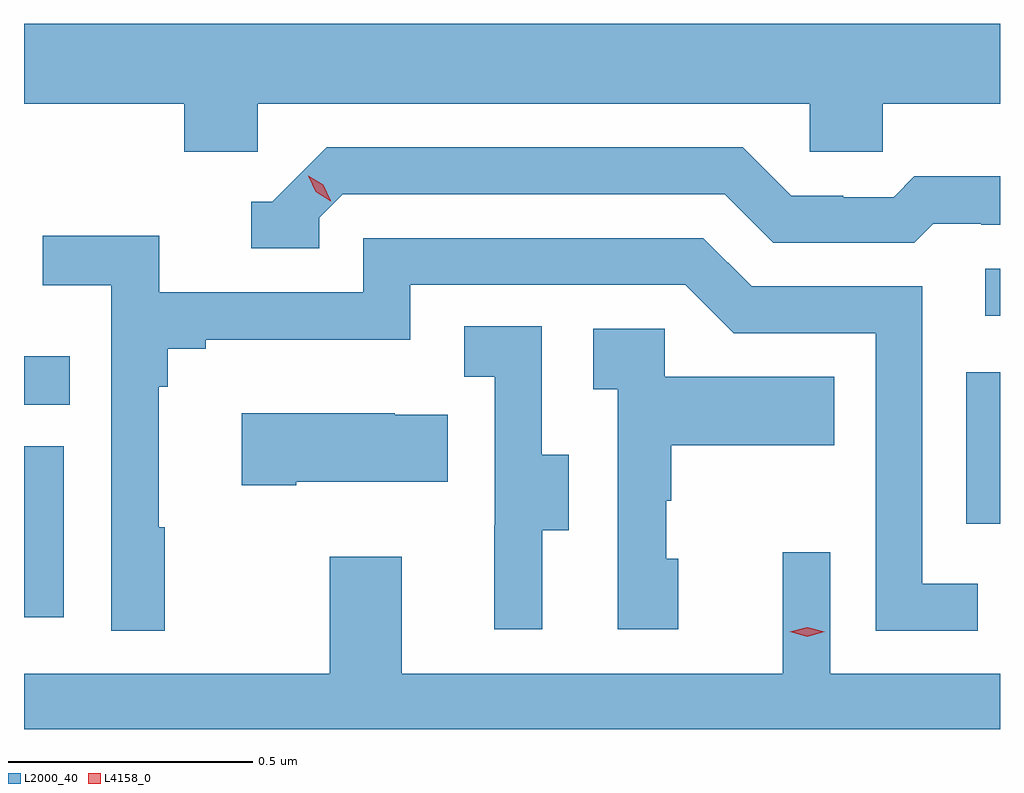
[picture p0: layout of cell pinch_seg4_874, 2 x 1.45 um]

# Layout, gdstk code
import gdstk
lib = gdstk.Library(unit=1e-6, precision=1e-09)
def R(c, l, rs):  # rectangles x0, y0, x1, y1
    for r in rs: c.add(gdstk.rectangle(r[:2], r[2:], *l))
def P(c, l, *ps):  # polygons
    for p in ps: c.add(gdstk.Polygon(p, *l))
L2000_40 = (2000, 40)
L4158_0 = (4158, 0)

pinch_seg4_874 = lib.new_cell('pinch_seg4_874')
R(pinch_seg4_874, L2000_40, [(841.189,801.096,841.27,801.447), (843.12,801.288,843.189,801.598), (841.189,801.532,841.283,801.631), (843.159,801.714,843.189,801.81)])
P(pinch_seg4_874, L2000_40, [(841.668,802.148),(842.799,802.148),(842.799,802.05),(842.949,802.05),(842.949,802.148),(843.189,802.148),(843.189,802.312),(841.189,802.312),(841.189,802.148),(841.517,802.148),(841.517,802.05),(841.668,802.05)],
  [(841.794,801.915),(841.842,801.963),(842.625,801.963),(842.724,801.864),(843.013,801.864),(843.052,801.903),(843.151,801.903),(843.151,801.9),(843.189,801.9),(843.189,802),(843.013,802),(842.971,801.957),(842.868,801.957),(842.868,801.96),(842.761,801.96),(842.662,802.059),(841.809,802.059),(841.698,801.948),(841.655,801.948),(841.655,801.852),(841.794,801.852)],
  [(841.477,801.281),(841.465,801.281),(841.465,801.569),(841.484,801.569),(841.484,801.646),(841.561,801.646),(841.561,801.665),(841.98,801.665),(841.98,801.777),(842.544,801.777),(842.643,801.678),(842.934,801.678),(842.934,801.069),(843.143,801.069),(843.143,801.165),(843.03,801.165),(843.03,801.774),(842.68,801.774),(842.581,801.873),(841.884,801.873),(841.884,801.762),(841.466,801.762),(841.466,801.878),(841.227,801.878),(841.227,801.776),(841.368,801.776),(841.368,801.069),(841.477,801.069)],
  [(842.251,801.274),(842.305,801.274),(842.305,801.429),(842.25,801.429),(842.25,801.692),(842.091,801.692),(842.091,801.589),(842.154,801.589),(842.154,801.285),(842.153,801.285),(842.153,801.072),(842.251,801.072)],
  [(842.53,801.216),(842.505,801.216),(842.505,801.335),(842.515,801.335),(842.515,801.449),(842.849,801.449),(842.849,801.589),(842.502,801.589),(842.502,801.687),(842.355,801.687),(842.355,801.563),(842.406,801.563),(842.406,801.072),(842.53,801.072)],
  [(841.747,801.374),(842.057,801.374),(842.057,801.511),(841.949,801.511),(841.949,801.514),(841.635,801.514),(841.635,801.367),(841.747,801.367)],
  [(843.189,800.98),(842.841,800.98),(842.841,801.229),(842.744,801.229),(842.744,800.98),(841.963,800.98),(841.963,801.22),(841.816,801.22),(841.816,800.98),(841.189,800.98),(841.189,800.867),(843.189,800.867)])
P(pinch_seg4_874, L4158_0, [(841.818,801.949),(841.787,801.968),(841.771,802.001),(841.771,802.001),(841.771,802.001),(841.802,801.982),(841.818,801.95),(841.818,801.949)],
  [(842.794,801.056),(842.758,801.066),(842.758,801.066),(842.758,801.066),(842.794,801.076),(842.83,801.066),(842.83,801.066),(842.83,801.066)])

lib.write_gds('pinch_seg4_874.gds')
